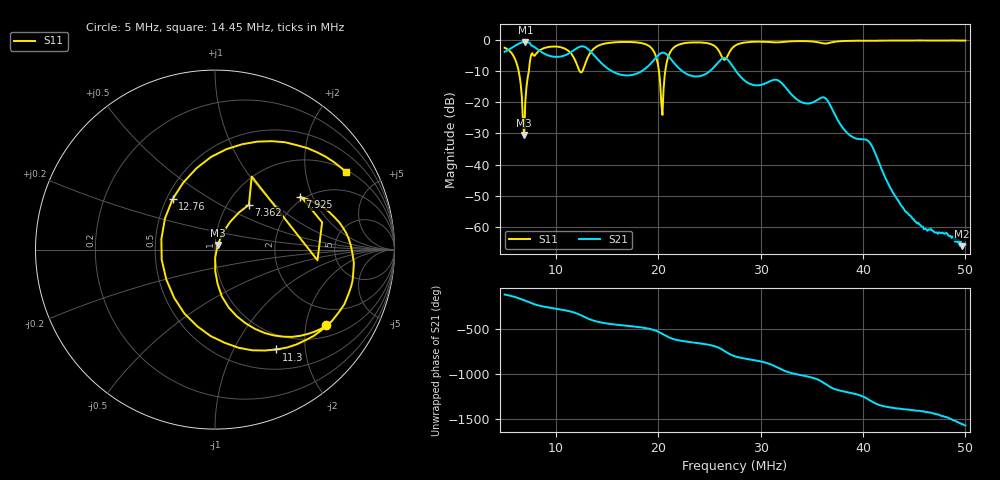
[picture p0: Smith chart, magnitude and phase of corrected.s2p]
! S11/S21 only; reverse parameters are placeholders. Device calibration unverified.
! [Saver CAL applied] C:\Users\aknya\MyProjects\rf-simulator\calibration2.cal | Ideal standards assumed | Input: NanoVNA F V2 profile | COM3 | 2026-09-08T11:32:26.7518157-04:00 | device calibration unverified
# HZ S RI R 50
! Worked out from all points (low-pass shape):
!   401 points, 5 MHz to 50 MHz, reference 50 ohm
!   highest |S21| = -0.65 dB at 7.025 MHz (marker M1); lowest = -66.2 dB at 49.66 MHz (marker M2)
!   |S21| within 3 dB of the highest: 5.111 MHz to 8.495 MHz (3.384 MHz wide, 49.7 % of centre); 11.6 MHz to 13.38 MHz (1.772 MHz wide, 14.2 % of centre)
!   lowest |S11| = -30.5 dB at 6.912 MHz (marker M3), VSWR 1.06, Z = 51.4 + j2.67 ohm
!   |S11| at or under -10 dB: 6.373 MHz to 7.366 MHz (992.2 kHz wide, 14.4 % of centre); 12.33 MHz to 12.59 MHz (265.6 kHz wide, 2.13 % of centre); 20.08 MHz to 20.69 MHz (614.5 kHz wide, 3.01 % of centre)
!   S12 and S22 are empty: the file has one direction only
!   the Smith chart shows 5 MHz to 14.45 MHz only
!   S11 on the Smith chart (normalised r, x): 5 MHz: 1.36, -2.62; 7.362 MHz: 1.25, +0.69; 7.925 MHz: 1.90, +1.62; 11.3 MHz: 0.77, -1.50; 12.76 MHz: 0.54, +0.35; 14.45 MHz: 1.09, +3.32
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5000000  0.6206 -0.4215  -0.3518 -0.5398  0 0  0 0
6125000  0.1711 -0.4111  -0.7455 -0.3569  0 0  0 0
6912500  0.0149 0.0259  -0.9214 0.1106  0 0  0 0
7025000  0.0451 0.0957  -0.9085 0.1909  0 0  0 0
7362500  0.1888 0.2497  -0.8098 0.4097  0 0  0 0
7925000  0.4742 0.2935  -0.4804 0.599  0 0  0 0
1.13e7  0.3413 -0.5564  0.3613 0.4934  0 0  0 0
1.25375e7  -0.2988 0.0587  0.7887 0.0589  0 0  0 0
1.27625e7  -0.2364 0.2812  0.7747 -0.108  0 0  0 0
1.445e7  0.7289 0.4312  0.1323 -0.404  0 0  0 0
1.79375e7  0.8451 -0.3431  -0.1434 -0.252  0 0  0 0
2.0075e7  -0.0205 -0.3177  -0.5821 -0.0313  0 0  0 0
2.04125e7  -0.0363 0.0513  -0.5969 0.1895  0 0  0 0
2.0975e7  0.3876 0.3667  -0.3429 0.4368  0 0  0 0
2.28875e7  0.9001 -0.0861  0.0687 0.2712  0 0  0 0
2.615e7  0.4483 -0.3529  0.4882 -0.028  0 0  0 0
2.75e7  0.7985 -0.1342  0.0353 -0.331  0 0  0 0
3.50375e7  0.6464 -0.6933  0.0745 0.0649  0 0  0 0
4.055e7  0.5133 -0.8245  -0.0221 0.00839  0 0  0 0
4.2575e7  0.4419 -0.8734  0.00125 0.00436  0 0  0 0
4.96625e7  0.1677 -0.9635  -0.00019 -0.000454  0 0  0 0
5e7  0.1585 -0.9662  -0.000304 -0.000416  0 0  0 0
